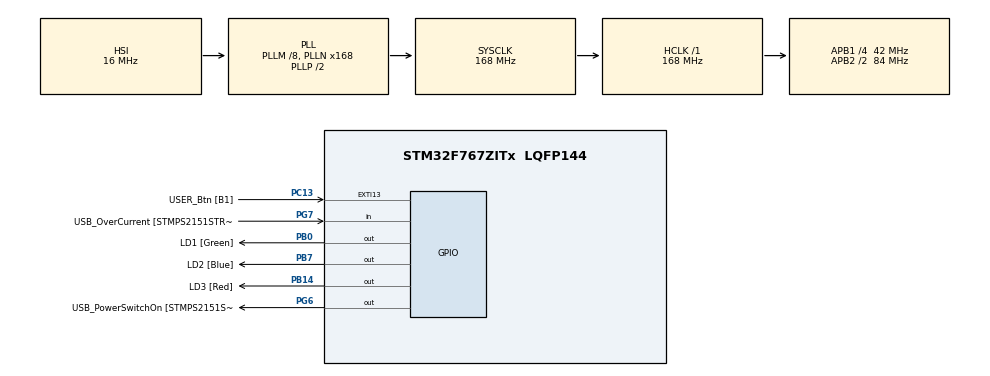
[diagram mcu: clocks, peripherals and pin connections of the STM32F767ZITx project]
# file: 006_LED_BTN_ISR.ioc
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Mcu.Family=STM32F7
Mcu.Name=STM32F767ZITx
Mcu.Package=LQFP144
NVIC.EXTI15_10_IRQn=true\:5\:0\:true\:false\:true\:true\:true\:true
NVIC.PriorityGroup=NVIC_PRIORITYGROUP_4
NVIC.TIM1_UP_TIM10_IRQn=true\:15\:0\:false\:false\:true\:false\:true\:true
NVIC.TimeBase=TIM1_UP_TIM10_IRQn
NVIC.TimeBaseIP=TIM1
PA1.GPIO_Label=RMII_REF_CLK [LAN8742A-CZ-TR_REFCLK0]
PA1.Signal=ETH_REF_CLK
PA10.GPIO_Label=USB_ID
PA10.Signal=USB_OTG_FS_ID
PA11.GPIO_Label=USB_DM
PA11.Signal=USB_OTG_FS_DM
PA12.GPIO_Label=USB_DP
PA12.Signal=USB_OTG_FS_DP
PA13.GPIO_Label=TMS
PA13.Signal=SYS_JTMS-SWDIO
PA14.GPIO_Label=TCK
PA14.Signal=SYS_JTCK-SWCLK
PA2.GPIO_Label=RMII_MDIO [LAN8742A-CZ-TR_MDIO]
PA2.Signal=ETH_MDIO
PA7.GPIO_Label=RMII_CRS_DV [LAN8742A-CZ-TR_CRS_DV]
PA7.Signal=ETH_CRS_DV
PA8.GPIO_Label=USB_SOF [TP1]
PA8.Signal=USB_OTG_FS_SOF
PA9.GPIO_Label=USB_VBUS
PA9.Signal=USB_OTG_FS_VBUS
PB0.GPIO_Label=LD1 [Green]
PB0.Signal=GPIO_Output
PB13.GPIO_Label=RMII_TXD1 [LAN8742A-CZ-TR_TXD1]
PB13.Signal=ETH_TXD1
PB14.GPIO_Label=LD3 [Red]
PB14.Signal=GPIO_Output
PB3.GPIO_Label=SW0
PB3.Signal=SYS_JTDO-SWO
PB7.GPIO_Label=LD2 [Blue]
PB7.Signal=GPIO_Output
PC1.GPIO_Label=RMII_MDC [LAN8742A-CZ-TR_MDC]
PC1.Signal=ETH_MDC
PC13.GPIO_Label=USER_Btn [B1]
PC13.GPIO_ModeDefaultEXTI=GPIO_MODE_IT_RISING
PC13.Signal=GPXTI13
PC14/OSC32_IN.Signal=RCC_OSC32_IN
PC15/OSC32_OUT.Signal=RCC_OSC32_OUT
PC4.GPIO_Label=RMII_RXD0 [LAN8742A-CZ-TR_RXD0]
PC4.Signal=ETH_RXD0
PC5.GPIO_Label=RMII_RXD1 [LAN8742A-CZ-TR_RXD1]
PC5.Signal=ETH_RXD1
PD8.GPIO_Label=STLK_RX [STM32F103CBT6_PA3]
PD8.Signal=USART3_TX
PD9.GPIO_Label=STLK_TX [STM32F103CBT6_PA2]
PD9.Signal=USART3_RX
PG11.GPIO_Label=RMII_TX_EN [LAN8742A-CZ-TR_TXEN]
PG11.Signal=ETH_TX_EN
PG13.GPIO_Label=RMII_TXD0 [LAN8742A-CZ-TR_TXD0]
PG13.Signal=ETH_TXD0
PG6.GPIO_Label=USB_PowerSwitchOn [STMPS2151STR_EN]
PG6.Signal=GPIO_Output
PG7.GPIO_Label=USB_OverCurrent [STMPS2151STR_FAULT]
PG7.Signal=GPIO_Input
PH0/OSC_IN.GPIO_Label=MCO [STM32F103CBT6_PA8]
PH0/OSC_IN.Signal=RCC_OSC_IN
PH1/OSC_OUT.Signal=RCC_OSC_OUT
ProjectManager.HeapSize=0x200
ProjectManager.StackSize=0x400
ProjectManager.TargetToolchain=STM32CubeIDE
RCC.48MHZClocksFreq_Value=24000000
RCC.AHBFreq_Value=168000000
RCC.APB1CLKDivider=RCC_HCLK_DIV4
RCC.APB1Freq_Value=42000000
RCC.APB1TimFreq_Value=84000000
RCC.APB2CLKDivider=RCC_HCLK_DIV2
RCC.APB2Freq_Value=84000000
RCC.APB2TimFreq_Value=168000000
RCC.CortexFreq_Value=168000000
RCC.HCLKFreq_Value=168000000
RCC.HSE_VALUE=16000000
RCC.HSI_VALUE=16000000
RCC.LSE_VALUE=32768
RCC.PLLM=8
RCC.PLLMUL=RCC_PLL_MUL9
RCC.PLLN=168
RCC.PRESCALERUSB=RCC_USBCLKSOURCE_PLL_DIV1_5
RCC.SYSCLKFreq_VALUE=168000000
RCC.SYSCLKSource=RCC_SYSCLKSOURCE_PLLCLK
RCC.SYSCLKSourceVirtual=RCC_SYSCLKSOURCE_PLLCLK
RCC.USBFreq_Value=168000000
RCC.VCOOutputFreq_Value=336000000
VP_SYS_VS_tim1.Mode=TIM1
board=NUCLEO-F767ZI

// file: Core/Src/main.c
/* USER CODE BEGIN Header */
/**
  ******************************************************************************
  * @file           : main.c
  * @brief          : Main program body
  ******************************************************************************
  * @attention
  *
  * Copyright (c) 2024 STMicroelectronics.
  * All rights reserved.
  *
  * This software is licensed under terms that can be found in the LICENSE file
  * in the root directory of this software component.
  * If no LICENSE file comes with this software, it is provided AS-IS.
  *
  ******************************************************************************
  */
/* USER CODE END Header */
#include "main.h"

/* USER CODE BEGIN Includes */
#include "FreeRTOS.h"
#include "task.h"
/* USER CODE END Includes */

/* USER CODE BEGIN PD */
#define LED_GREEN LD1_Pin
#define LED_BLUE LD2_Pin
#define LED_RED LD3_Pin
/* USER CODE END PD */

/* USER CODE BEGIN PV */
TaskHandle_t volatile next_task_handle;
TaskHandle_t task1_handle;
TaskHandle_t task2_handle;
TaskHandle_t task3_handle;
TaskHandle_t btn_task_handle;
/* USER CODE END PV */

void SystemClock_Config(void);
static void MX_GPIO_Init(void);
/* USER CODE BEGIN PFP */
extern void Button_Interrupt_Handler(void);
static void led_green_handler(void* params);
static void led_red_handler(void* params);
static void led_blue_handler(void* params);
extern void SEGGER_UART_init(uint32_t);
/* USER CODE END PFP */

int main(void)
{

  /* USER CODE BEGIN 1 */
	BaseType_t status;
  /* USER CODE END 1 */

  /* MCU Configuration--------------------------------------------------------*/

  /* Reset of all peripherals, Initializes the Flash interface and the Systick. */
  HAL_Init();

  /* Configure the system clock */
  SystemClock_Config();

  /* Initialize all configured peripherals */
  MX_GPIO_Init();
  /* USER CODE BEGIN 2 */
  CoreDebug->DEMCR |= CoreDebug_DEMCR_TRCENA_Msk;

      DWT->LAR = 0xC5ACCE55;

      DWT->CYCCNT = 0;

      DWT->CTRL |= DWT_CTRL_CYCCNTENA_Msk;
   SEGGER_UART_init(250000);
   SEGGER_SYSVIEW_Conf();

   status=  xTaskCreate(led_green_handler, "LED_Green_Task", 200, NULL, 3,&task1_handle);
   configASSERT(status == pdPASS);
   next_task_handle = task1_handle;
   status=  xTaskCreate(led_blue_handler, "LED_Blue_Task", 200, NULL, 2,&task2_handle);
   configASSERT(status == pdPASS);
   status=  xTaskCreate(led_red_handler, "LED_Red_Task", 200, NULL, 1,&task3_handle);
   configASSERT(status == pdPASS);

   vTaskStartScheduler();
  /* USER CODE END 2 */

  /* Infinite loop */
  while (1)
  {

  }
}

void SystemClock_Config(void)
{
  RCC_OscInitTypeDef RCC_OscInitStruct = {0};
  RCC_ClkInitTypeDef RCC_ClkInitStruct = {0};

  /** Configure the main internal regulator output voltage
  */
  __HAL_RCC_PWR_CLK_ENABLE();
  __HAL_PWR_VOLTAGESCALING_CONFIG(PWR_REGULATOR_VOLTAGE_SCALE2);

  /** Initializes the RCC Oscillators according to the specified parameters
  * in the RCC_OscInitTypeDef structure.
  */
  RCC_OscInitStruct.OscillatorType = RCC_OSCILLATORTYPE_HSI;
  RCC_OscInitStruct.HSIState = RCC_HSI_ON;
  RCC_OscInitStruct.HSICalibrationValue = RCC_HSICALIBRATION_DEFAULT;
  RCC_OscInitStruct.PLL.PLLState = RCC_PLL_ON;
  RCC_OscInitStruct.PLL.PLLSource = RCC_PLLSOURCE_HSI;
  RCC_OscInitStruct.PLL.PLLM = 8;
  RCC_OscInitStruct.PLL.PLLN = 168;
  RCC_OscInitStruct.PLL.PLLP = RCC_PLLP_DIV2;
  RCC_OscInitStruct.PLL.PLLQ = 2;
  RCC_OscInitStruct.PLL.PLLR = 2;
  if (HAL_RCC_OscConfig(&RCC_OscInitStruct) != HAL_OK)
  {
    Error_Handler();
  }

  /** Initializes the CPU, AHB and APB buses clocks
  */
  RCC_ClkInitStruct.ClockType = RCC_CLOCKTYPE_HCLK|RCC_CLOCKTYPE_SYSCLK
                              |RCC_CLOCKTYPE_PCLK1|RCC_CLOCKTYPE_PCLK2;
  RCC_ClkInitStruct.SYSCLKSource = RCC_SYSCLKSOURCE_PLLCLK;
  RCC_ClkInitStruct.AHBCLKDivider = RCC_SYSCLK_DIV1;
  RCC_ClkInitStruct.APB1CLKDivider = RCC_HCLK_DIV4;
  RCC_ClkInitStruct.APB2CLKDivider = RCC_HCLK_DIV2;

  if (HAL_RCC_ClockConfig(&RCC_ClkInitStruct, FLASH_LATENCY_5) != HAL_OK)
  {
    Error_Handler();
  }
}

static void MX_GPIO_Init(void)
{
  GPIO_InitTypeDef GPIO_InitStruct = {0};

  /* GPIO Ports Clock Enable */
  __HAL_RCC_GPIOC_CLK_ENABLE();
  __HAL_RCC_GPIOH_CLK_ENABLE();
  __HAL_RCC_GPIOA_CLK_ENABLE();
  __HAL_RCC_GPIOB_CLK_ENABLE();
  __HAL_RCC_GPIOD_CLK_ENABLE();
  __HAL_RCC_GPIOG_CLK_ENABLE();

  /*Configure GPIO pin Output Level */
  HAL_GPIO_WritePin(GPIOB, LD1_Pin|LD3_Pin|LD2_Pin, GPIO_PIN_RESET);

  /*Configure GPIO pin Output Level */
  HAL_GPIO_WritePin(USB_PowerSwitchOn_GPIO_Port, USB_PowerSwitchOn_Pin, GPIO_PIN_RESET);

  /*Configure GPIO pin : USER_Btn_Pin */
  GPIO_InitStruct.Pin = USER_Btn_Pin;
  GPIO_InitStruct.Mode = GPIO_MODE_IT_RISING;
  GPIO_InitStruct.Pull = GPIO_NOPULL;
  HAL_GPIO_Init(USER_Btn_GPIO_Port, &GPIO_InitStruct);

  /*Configure GPIO pins : RMII_MDC_Pin RMII_RXD0_Pin RMII_RXD1_Pin */
  GPIO_InitStruct.Pin = RMII_MDC_Pin|RMII_RXD0_Pin|RMII_RXD1_Pin;
  GPIO_InitStruct.Mode = GPIO_MODE_AF_PP;
  GPIO_InitStruct.Pull = GPIO_NOPULL;
  GPIO_InitStruct.Speed = GPIO_SPEED_FREQ_VERY_HIGH;
  GPIO_InitStruct.Alternate = GPIO_AF11_ETH;
  HAL_GPIO_Init(GPIOC, &GPIO_InitStruct);

  /*Configure GPIO pins : RMII_REF_CLK_Pin RMII_MDIO_Pin RMII_CRS_DV_Pin */
  GPIO_InitStruct.Pin = RMII_REF_CLK_Pin|RMII_MDIO_Pin|RMII_CRS_DV_Pin;
  GPIO_InitStruct.Mode = GPIO_MODE_AF_PP;
  GPIO_InitStruct.Pull = GPIO_NOPULL;
  GPIO_InitStruct.Speed = GPIO_SPEED_FREQ_VERY_HIGH;
  GPIO_InitStruct.Alternate = GPIO_AF11_ETH;
  HAL_GPIO_Init(GPIOA, &GPIO_InitStruct);

  /*Configure GPIO pins : LD1_Pin LD3_Pin LD2_Pin */
  GPIO_InitStruct.Pin = LD1_Pin|LD3_Pin|LD2_Pin;
  GPIO_InitStruct.Mode = GPIO_MODE_OUTPUT_PP;
  GPIO_InitStruct.Pull = GPIO_NOPULL;
  GPIO_InitStruct.Speed = GPIO_SPEED_FREQ_LOW;
  HAL_GPIO_Init(GPIOB, &GPIO_InitStruct);

  /*Configure GPIO pin : RMII_TXD1_Pin */
  GPIO_InitStruct.Pin = RMII_TXD1_Pin;
  GPIO_InitStruct.Mode = GPIO_MODE_AF_PP;
  GPIO_InitStruct.Pull = GPIO_NOPULL;
  GPIO_InitStruct.Speed = GPIO_SPEED_FREQ_VERY_HIGH;
  GPIO_InitStruct.Alternate = GPIO_AF11_ETH;
  HAL_GPIO_Init(RMII_TXD1_GPIO_Port, &GPIO_InitStruct);

  /*Configure GPIO pins : STLK_RX_Pin STLK_TX_Pin */
  GPIO_InitStruct.Pin = STLK_RX_Pin|STLK_TX_Pin;
  GPIO_InitStruct.Mode = GPIO_MODE_AF_PP;
  GPIO_InitStruct.Pull = GPIO_NOPULL;
  GPIO_InitStruct.Speed = GPIO_SPEED_FREQ_VERY_HIGH;
  GPIO_InitStruct.Alternate = GPIO_AF7_USART3;
  HAL_GPIO_Init(GPIOD, &GPIO_InitStruct);

  /*Configure GPIO pin : USB_PowerSwitchOn_Pin */
  GPIO_InitStruct.Pin = USB_PowerSwitchOn_Pin;
  GPIO_InitStruct.Mode = GPIO_MODE_OUTPUT_PP;
  GPIO_InitStruct.Pull = GPIO_NOPULL;
  GPIO_InitStruct.Speed = GPIO_SPEED_FREQ_LOW;
  HAL_GPIO_Init(USB_PowerSwitchOn_GPIO_Port, &GPIO_InitStruct);

  /*Configure GPIO pin : USB_OverCurrent_Pin */
  GPIO_InitStruct.Pin = USB_OverCurrent_Pin;
  GPIO_InitStruct.Mode = GPIO_MODE_INPUT;
  GPIO_InitStruct.Pull = GPIO_NOPULL;
  HAL_GPIO_Init(USB_OverCurrent_GPIO_Port, &GPIO_InitStruct);

  /*Configure GPIO pins : USB_SOF_Pin USB_ID_Pin USB_DM_Pin USB_DP_Pin */
  GPIO_InitStruct.Pin = USB_SOF_Pin|USB_ID_Pin|USB_DM_Pin|USB_DP_Pin;
  GPIO_InitStruct.Mode = GPIO_MODE_AF_PP;
  GPIO_InitStruct.Pull = GPIO_NOPULL;
  GPIO_InitStruct.Speed = GPIO_SPEED_FREQ_VERY_HIGH;
  GPIO_InitStruct.Alternate = GPIO_AF10_OTG_FS;
  HAL_GPIO_Init(GPIOA, &GPIO_InitStruct);

  /*Configure GPIO pin : USB_VBUS_Pin */
  GPIO_InitStruct.Pin = USB_VBUS_Pin;
  GPIO_InitStruct.Mode = GPIO_MODE_INPUT;
  GPIO_InitStruct.Pull = GPIO_NOPULL;
  HAL_GPIO_Init(USB_VBUS_GPIO_Port, &GPIO_InitStruct);

  /*Configure GPIO pins : RMII_TX_EN_Pin RMII_TXD0_Pin */
  GPIO_InitStruct.Pin = RMII_TX_EN_Pin|RMII_TXD0_Pin;
  GPIO_InitStruct.Mode = GPIO_MODE_AF_PP;
  GPIO_InitStruct.Pull = GPIO_NOPULL;
  GPIO_InitStruct.Speed = GPIO_SPEED_FREQ_VERY_HIGH;
  GPIO_InitStruct.Alternate = GPIO_AF11_ETH;
  HAL_GPIO_Init(GPIOG, &GPIO_InitStruct);

  /* EXTI interrupt init*/
  HAL_NVIC_SetPriority(EXTI15_10_IRQn, 5, 0);
  HAL_NVIC_EnableIRQ(EXTI15_10_IRQn);

}

/* USER CODE BEGIN 4 */
void Button_Interrupt_Handler(void)
{
	BaseType_t pxHigherPriorityTaskAwoken = pdFALSE;
	traceISR_ENTER();
	xTaskNotifyFromISR(next_task_handle,0,eNoAction,&pxHigherPriorityTaskAwoken);
	traceISR_EXIT();

	portYIELD_FROM_ISR(pxHigherPriorityTaskAwoken);
}
static void led_green_handler(void* parameters)
{
	BaseType_t status;
	while(1)
	{
		SEGGER_SYSVIEW_PrintfTarget("Toggling Green LED");
		HAL_GPIO_TogglePin(GPIOB, LED_GREEN);
		status =xTaskNotifyWait(0,0,NULL,1000);
		if (status == pdTRUE)
		{
			portENTER_CRITICAL();
			next_task_handle = task2_handle;
			HAL_GPIO_WritePin(GPIOB, LED_GREEN, GPIO_PIN_RESET);
			SEGGER_SYSVIEW_PrintfTarget("Suspend Green LED Task");
			portEXIT_CRITICAL();
			vTaskDelete(NULL);
		}

	}
}
static void led_red_handler(void* parameters)
{
	BaseType_t status;
		while(1)
		{

			SEGGER_SYSVIEW_PrintfTarget("Toggling Red LED");
			HAL_GPIO_TogglePin(GPIOB, LED_RED);
			status =xTaskNotifyWait(0,0,NULL,400);
			if (status == pdTRUE)
			{
				portENTER_CRITICAL();
				next_task_handle = NULL;
				HAL_GPIO_WritePin(GPIOB, LED_RED, GPIO_PIN_RESET);
				SEGGER_SYSVIEW_PrintfTarget("Suspend Red LED Task");
				portEXIT_CRITICAL();
				vTaskDelete(NULL);
			}

		}
}
static void led_blue_handler(void* parameters)
{
	BaseType_t status;
			while(1)
			{
				SEGGER_SYSVIEW_PrintfTarget("Toggling Blue LED");
				HAL_GPIO_TogglePin(GPIOB, LED_BLUE);
				status =xTaskNotifyWait(0,0,NULL,800);
				if (status == pdTRUE)
				{
					portENTER_CRITICAL();
					next_task_handle = task3_handle;
					HAL_GPIO_WritePin(GPIOB, LED_BLUE, GPIO_PIN_RESET);
					SEGGER_SYSVIEW_PrintfTarget("Suspend Blue LED Task");
					portEXIT_CRITICAL();
					vTaskDelete(NULL);
				}

			}
}
void vAssertCalled( unsigned long ulLine, const char * const pcFileName )
{
//static portBASE_TYPE xPrinted = pdFALSE;
volatile uint32_t ulSetToNonZeroInDebuggerToContinue = 0;

    /* Parameters are not used. */
    ( void ) ulLine;
    ( void ) pcFileName;

    taskENTER_CRITICAL();
    {
        /* You can step out of this function to debug the assertion by using
        the debugger to set ulSetToNonZeroInDebuggerToContinue to a non-zero
        value. */
        while( ulSetToNonZeroInDebuggerToContinue == 1 )
        {
        }
    }
    taskEXIT_CRITICAL();
}

/* USER CODE END 4 */

void HAL_TIM_PeriodElapsedCallback(TIM_HandleTypeDef *htim)
{
  if (htim->Instance == TIM1) {
    HAL_IncTick();
  }
}

void Error_Handler(void)
{
  __disable_irq();
  while (1)
  {
  }
}
